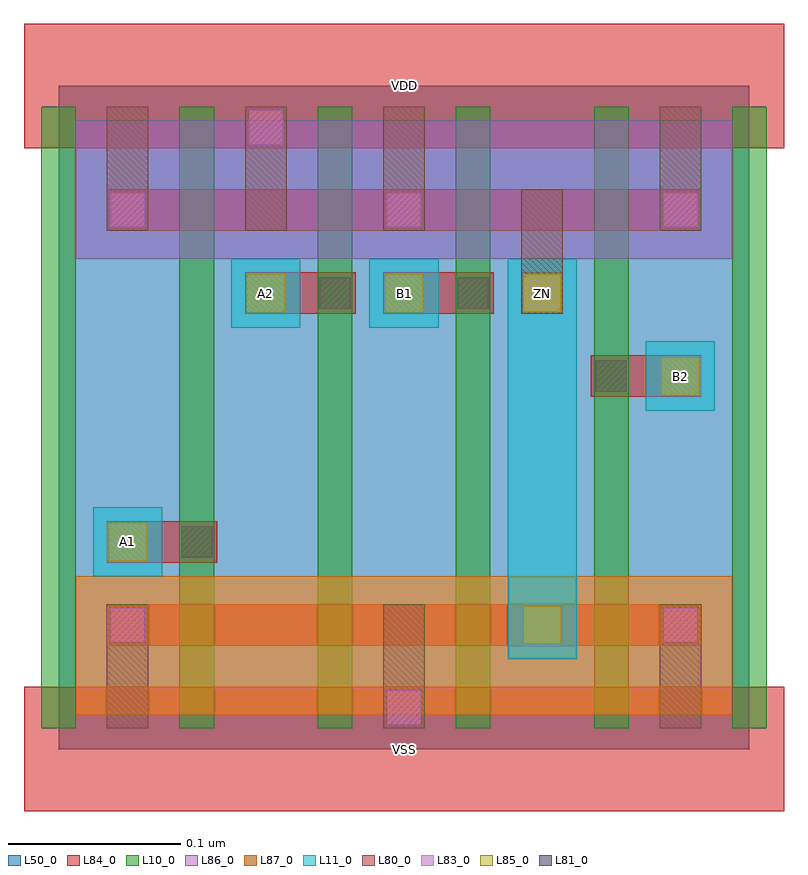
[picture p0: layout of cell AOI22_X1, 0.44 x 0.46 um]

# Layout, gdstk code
import gdstk
lib = gdstk.Library(unit=1e-6, precision=1e-09)
def R(c, l, rs):  # rectangles x0, y0, x1, y1
    for r in rs: c.add(gdstk.rectangle(r[:2], r[2:], *l))
def A(c, l, x, y, w, h, nx, ny, dx, dy):  # array of equal rectangles
    R(c, l, [(x+i*dx, y+j*dy, x+i*dx+w, y+j*dy+h) for i in range(nx) for j in range(ny)])
L10_0 = (10, 0)
L11_0 = (11, 0)
L50_0 = (50, 0)
L80_0 = (80, 0)
L81_0 = (81, 0)
L83_0 = (83, 0)
L84_0 = (84, 0)
L85_0 = (85, 0)
L86_0 = (86, 0)
L87_0 = (87, 0)

aoi22_x1 = lib.new_cell('AOI22_X1')
A(aoi22_x1, L10_0, -0.01, 0.012, 0.02, 0.36, 6, 1, 0.08, 0)
R(aoi22_x1, L11_0, [(0.26,0.052,0.3,0.284), (0.02,0.1,0.06,0.14), (0.34,0.196,0.38,0.236), (0.1,0.244,0.14,0.284), (0.18,0.244,0.22,0.284)])
R(aoi22_x1, L50_0, [(0,0,0.4,0.384)])
A(aoi22_x1, L80_0, 0.028, 0.012, 0.024, 0.072, 3, 1, 0.16, 0)
A(aoi22_x1, L80_0, 0.028, 0.3, 0.024, 0.072, 3, 1, 0.08, 0)
R(aoi22_x1, L80_0, [(0.268,0.252,0.292,0.324), (0.348,0.3,0.372,0.372)])
R(aoi22_x1, L81_0, [(0.071,0.111,0.089,0.129), (0.311,0.207,0.329,0.225), (0.151,0.255,0.169,0.273), (0.231,0.255,0.249,0.273)])
A(aoi22_x1, L83_0, 0.03, 0.302, 0.02, 0.02, 3, 1, 0.16, 0)
R(aoi22_x1, L83_0, [(0.19,0.014,0.21,0.034), (0.03,0.062,0.05,0.082), (0.35,0.062,0.37,0.082), (0.27,0.254,0.29,0.274), (0.11,0.35,0.13,0.37)])
R(aoi22_x1, L84_0, [(-0.02,-0.036,0.42,0.036), (0.028,0.06,0.372,0.084), (0.028,0.108,0.092,0.132), (0.308,0.204,0.372,0.228), (0.108,0.252,0.172,0.276), (0.188,0.252,0.252,0.276), (0.268,0.252,0.292,0.276), (0.028,0.3,0.372,0.324), (-0.02,0.348,0.42,0.42)])
A(aoi22_x1, L85_0, 0.109, 0.253, 0.022, 0.022, 3, 1, 0.08, 0)
R(aoi22_x1, L85_0, [(0.269,0.061,0.291,0.083), (0.029,0.109,0.051,0.131), (0.349,0.205,0.371,0.227)])
R(aoi22_x1, L86_0, [(0.01,0.284,0.39,0.364)])
R(aoi22_x1, L87_0, [(0.01,0.02,0.39,0.1)])
aoi22_x1.add(gdstk.Label('VDD', (0.2,0.384), layer=88, texttype=0))
aoi22_x1.add(gdstk.Label('VSS', (0.2,0), layer=88, texttype=0))
aoi22_x1.add(gdstk.Label('ZN', (0.28,0.264), layer=31, texttype=0))
aoi22_x1.add(gdstk.Label('B1', (0.2,0.264), layer=31, texttype=0))
aoi22_x1.add(gdstk.Label('A1', (0.04,0.12), layer=31, texttype=0))
aoi22_x1.add(gdstk.Label('A2', (0.12,0.264), layer=31, texttype=0))
aoi22_x1.add(gdstk.Label('B2', (0.36,0.216), layer=31, texttype=0))

lib.write_gds('AOI22_X1.gds')
